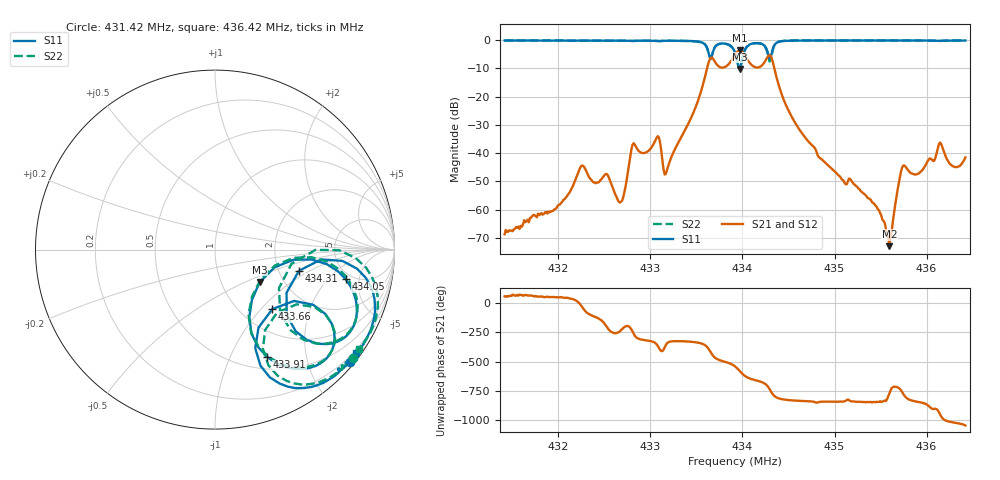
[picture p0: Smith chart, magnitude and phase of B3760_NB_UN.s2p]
! S-Parameter for B3760 in Touchstone format with Magnitude (lin) and Phase
! Normalised impedance: 50 Ohm. Measurement system: 50 Ohm. Ta=20°C
! B3760_5.S2P not matched. Measurement full 2-port calibrated incl. Port.Ext.
! Start: 431.420MHz, Stop: 436.420MHz, Span 5MHz 401 Pts., Step 0.0125MHz.
! Date: 01/02/04 - EPCOS SAW CE AE PD; AGL
! Pinning according data sheet recommendation: IN P2, OUT P5, other GND
# MHz  S  MA  R  50
!  Freq  S11  S21  S12  S22
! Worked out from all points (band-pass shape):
!   401 points, 431.42 MHz to 436.42 MHz, reference 50 ohm
!   highest |S21| = -3.66 dB at 433.97 MHz (marker M1); lowest = -72.9 dB at 435.6 MHz (marker M2)
!   |S21| within 3 dB of the highest: 433.8931 MHz to 434.0479 MHz (154.9 kHz wide, 0.0357 % of centre); 434.2614 MHz to 434.3207 MHz (59.27 kHz wide, 0.0136 % of centre) (the widest 2 of 3)
!   lowest |S11| = -10.2 dB at 433.97 MHz (marker M3), VSWR 1.89, Z = 75.9 - j30.3 ohm
!   |S11| at or under -10 dB: 433.9672 MHz to 433.9728 MHz (5.562 kHz wide, 0.00128 % of centre)
!   |S22| runs from -10.4 to -0.2 dB; largest |S21 - S12| = 0
!   S11 on the Smith chart (normalised r, x): 431.42 MHz: 0.09, -2.77; 433.66 MHz: 1.38, -1.16; 433.91 MHz: 0.65, -1.39; 434.05 MHz: 4.38, -3.28; 434.31 MHz: 2.58, -0.79; 436.42 MHz: 0.12, -3.05
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431.42  0.9785 -39.7  0.0003675 53.7  0.0003675 53.7  0.9777 -38.1
431.9575  0.9779 -40.4  0.001004 47.2  0.001004 47.2  0.9769 -38.9
432.2575  0.9715 -41.0  0.006029 -31.9  0.006029 -31.9  0.9694 -39.5
432.67  0.9745 -42.1  0.001339 114.3  0.001339 114.3  0.973 -40.5
432.82  0.9616 -42.2  0.01498 95.8  0.01498 95.8  0.9633 -40.6
433.095  0.954 -44.0  0.01894 -25.0  0.01894 -25.0  0.9566 -42.4
433.1825  0.9707 -44.6  0.005036 15.4  0.005036 15.4  0.9699 -43.1
433.57  0.8903 -60.0  0.1576 9.2  0.1576 9.2  0.8904 -57.5
433.6575  0.4603 -46.0  0.4849 -61.6  0.4849 -61.6  0.4926 -45.4
433.745  0.8495 -38.9  0.3407 -125.6  0.3407 -125.6  0.8486 -38.5
433.9075  0.6669 -64.0  0.5076 -173.6  0.5076 -173.6  0.6626 -63.6
433.92  0.5978 -66.0  0.5492 179.2  0.5492 179.2  0.5914 -65.8
433.97  0.308 -35.9  0.6558 141.4  0.6558 141.4  0.3033 -32.9
434.045  0.7474 -12.8  0.4721 89.2  0.4721 89.2  0.7447 -11.5
434.2325  0.8127 -40.4  0.3882 37.8  0.3882 37.8  0.8053 -40.7
434.3075  0.4822 -14.2  0.524 -29.7  0.524 -29.7  0.4339 -10.4
434.395  0.9303 -17.2  0.1581 -92.4  0.1581 -92.4  0.9298 -14.3
434.7575  0.9788 -30.8  0.01375 -119.1  0.01375 -119.1  0.9804 -29.0
435.595  0.9808 -35.0  0.0002267 -53.4  0.0002267 -53.4  0.9805 -33.3
435.745  0.975 -35.2  0.006022 -53.3  0.006022 -53.3  0.9755 -33.6
436.145  0.9648 -35.6  0.01538 132.7  0.01538 132.7  0.9637 -34.0
436.42  0.9771 -36.3  0.008396 37.6  0.008396 37.6  0.9755 -34.7
